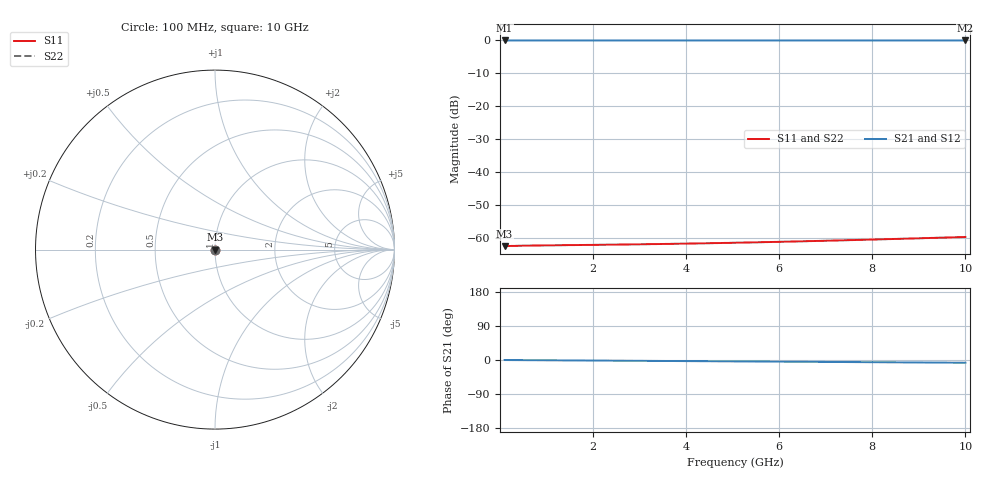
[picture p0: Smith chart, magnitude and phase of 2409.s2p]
# Hz S RI R 50.00
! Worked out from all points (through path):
!   100 points, 100 MHz to 10 GHz, reference 50 ohm
!   highest |S21| = -0.01 dB at 100 MHz (marker M1); lowest = 0.0 dB at 10 GHz (marker M2)
!   group delay of S21, straight-line fit = 2.02 ps
!   lowest |S11| = -62.4 dB at 100 MHz (marker M3), VSWR 1.00, Z = 50.1 - j0.000677 ohm
!   |S11| at or under -10 dB: start of sweep to end of sweep
!   |S22| runs from -62.4 to -59.6 dB; largest |S21 - S12| = 0
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1e8  0.000761 -6.76e-06  0.9992 -0.00126  0.9992 -0.00126  0.000761 -6.76e-06
2e8  0.000765 -1.35e-05  0.9992 -0.00252  0.9992 -0.00252  0.000765 -1.35e-05
3e8  0.000769 -2.03e-05  0.9992 -0.00379  0.9992 -0.00379  0.000769 -2.03e-05
4e8  0.000771 -2.71e-05  0.9992 -0.00505  0.9992 -0.00505  0.000771 -2.71e-05
6e8  0.000775 -4.07e-05  0.9992 -0.00757  0.9992 -0.00757  0.000775 -4.07e-05
1e9  0.000779 -6.82e-05  0.9991 -0.0126  0.9991 -0.0126  0.000779 -6.82e-05
1.8e9  0.000784 -0.000124  0.9989 -0.0227  0.9989 -0.0227  0.000784 -0.000124
2.6e9  0.000785 -0.000181  0.9986 -0.0328  0.9986 -0.0328  0.000785 -0.000181
3e9  0.000785 -0.00021  0.9985 -0.0379  0.9985 -0.0379  0.000785 -0.00021
3.4e9  0.000784 -0.000239  0.9982 -0.0429  0.9982 -0.0429  0.000784 -0.000239
3.9e9  0.000783 -0.000276  0.9979 -0.0492  0.9979 -0.0492  0.000783 -0.000276
4.3e9  0.000781 -0.000306  0.9977 -0.0543  0.9977 -0.0543  0.000781 -0.000306
4.7e9  0.000779 -0.000336  0.9974 -0.0593  0.9974 -0.0593  0.000779 -0.000336
5.1e9  0.000777 -0.000367  0.9971 -0.0644  0.9971 -0.0644  0.000777 -0.000367
5.5e9  0.000774 -0.000398  0.9967 -0.0694  0.9967 -0.0694  0.000774 -0.000398
5.9e9  0.000771 -0.000429  0.9963 -0.0745  0.9963 -0.0745  0.000771 -0.000429
6.3e9  0.000768 -0.000461  0.9959 -0.0796  0.9959 -0.0796  0.000768 -0.000461
6.7e9  0.000764 -0.000492  0.9955 -0.0846  0.9955 -0.0846  0.000764 -0.000492
7.5e9  0.000756 -0.000557  0.9946 -0.0947  0.9946 -0.0947  0.000756 -0.000557
8.4e9  0.000745 -0.00063  0.9934 -0.1061  0.9934 -0.1061  0.000745 -0.00063
9.1e9  0.000735 -0.000687  0.9924 -0.1149  0.9924 -0.1149  0.000735 -0.000687
1e10  0.000721 -0.000762  0.9911 -0.1262  0.9911 -0.1262  0.000721 -0.000762
